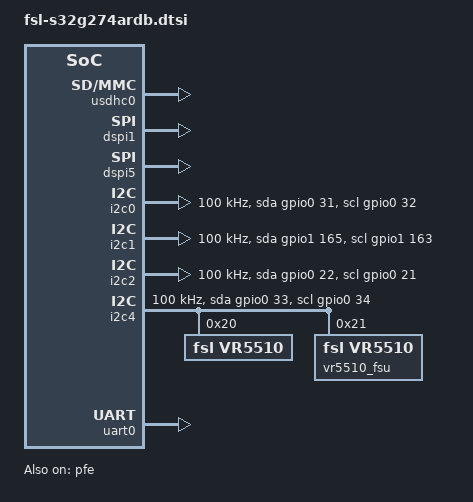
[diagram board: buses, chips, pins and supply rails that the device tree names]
// SPDX-License-Identifier: GPL-2.0-or-later
/*
 * Copyright 2019-2022 NXP
 */

/dts-v1/;
#include <dt-bindings/gpio/gpio.h>
#include "fsl-s32g274a.dtsi"

&usdhc0 {
	/* By default sd0 pins were able to work at 100Mhz and 200Mhz */
	pinctrl-0 = <&pinctrl0_sd0>;
	pinctrl-1 = <>;
	pinctrl-2 = <>;
	pinctrl-names = "default", "state_100mhz", "state_200mhz";
	status = "okay";
};

&dspi1 {
	pinctrl-0 = <&pinctrl0_dspi1 &pinctrl1_dspi1>;
	pinctrl-names = "default";
	status = "okay";
};

&dspi5 {
	pinctrl-0 = <&pinctrl0_dspi5 &pinctrl1_dspi5>;
	pinctrl-names = "default";
	status = "okay";
};

&pfe {
	status = "okay";
};

/* IO Expander  */
&i2c0 {
	clock-frequency=<100000>;
	pinctrl-names = "default", "gpio";
	pinctrl-0 = <&pinctrl0_i2c0>;
	pinctrl-1 = <&pinctrl0_i2c0_gpio>;
	scl-gpios = <&gpio0 32 (GPIO_ACTIVE_HIGH | GPIO_OPEN_DRAIN)>;
	sda-gpios = <&gpio0 31 (GPIO_ACTIVE_HIGH | GPIO_OPEN_DRAIN)>;
	status = "okay";
};

/* PCIe X1 Connector  */
&i2c1 {
	clock-frequency=<100000>;
	pinctrl-names = "default", "gpio";
	pinctrl-0 = <&pinctrl1_i2c1>;
	pinctrl-1 = <&pinctrl1_i2c1_gpio>;
	scl-gpios = <&gpio1 163 (GPIO_ACTIVE_HIGH | GPIO_OPEN_DRAIN)>;
	sda-gpios = <&gpio1 165 (GPIO_ACTIVE_HIGH | GPIO_OPEN_DRAIN)>;
	status = "okay";
};

/* FLEXRAY_LIN  */
&i2c2 {
	clock-frequency=<100000>;
	pinctrl-names = "default", "gpio";
	pinctrl-0 = <&pinctrl0_i2c2 &pinctrl1_i2c2>;
	pinctrl-1 = <&pinctrl0_i2c2_gpio &pinctrl1_i2c2_gpio>;
	scl-gpios = <&gpio0 21 (GPIO_ACTIVE_HIGH | GPIO_OPEN_DRAIN)>;
	sda-gpios = <&gpio0 22 (GPIO_ACTIVE_HIGH | GPIO_OPEN_DRAIN)>;
	status = "okay";
};

/* PMIC */
&i2c4 {
	clock-frequency=<100000>;
	pinctrl-names = "default", "gpio";
	pinctrl-0 = <&pinctrl0_i2c4 &pinctrl1_i2c4>;
	pinctrl-1 = <&pinctrl0_i2c4_gpio &pinctrl1_i2c4_gpio>;
	scl-gpios = <&gpio0 34 (GPIO_ACTIVE_HIGH | GPIO_OPEN_DRAIN)>;
	sda-gpios = <&gpio0 33 (GPIO_ACTIVE_HIGH | GPIO_OPEN_DRAIN)>;
	status = "okay";

	vr5510 {
		compatible = "fsl,vr5510";
		reg = <0x20>;
		status = "okay";
	};

	vr5510_fsu {
		compatible = "fsl,vr5510";
		reg = <0x21>;
		status = "okay";
	};
};

&pinctrl0 {
	board_pinctrl0 {
		pinctrl0_i2c0: pinctrl0_i2c0 {
			fsl,pins = <PB15_MSCR_S32G PB15_I2C0_SDA_CFG
				    PC00_MSCR_S32G PC00_I2C0_SCL_CFG
				    I2C0_SDA_IMCR PB15_I2C0_SDA_IN
				    I2C0_SCL_IMCR PC00_I2C0_SCL_IN
				    >;
		};

		pinctrl0_i2c0_gpio: pinctrl0_i2c0_gpio {
			fsl,pins = <PB15_MSCR_S32G PB15_I2C0_SDA_GPIO
				    PC00_MSCR_S32G PC00_I2C0_SCL_GPIO
				    I2C0_SDA_IMCR IMCR_DISABLED
				    I2C0_SCL_IMCR IMCR_DISABLED
				    >;
		};

		pinctrl0_i2c2: pinctrl0_i2c2 {
			fsl,pins = <PB05_MSCR_S32G PB05_I2C2_SCL_CFG
				    PB06_MSCR_S32G PB06_I2C2_SDA_CFG
				    >;
		};

		pinctrl0_i2c2_gpio: pinctrl0_i2c2_gpio {
			fsl,pins = <PB05_MSCR_S32G PB05_I2C2_SCL_GPIO
				    PB06_MSCR_S32G PB06_I2C2_SDA_GPIO
				    >;
		};

		pinctrl0_i2c4: pinctrl0_i2c4 {
			fsl,pins = <PC01_MSCR_S32G PC01_I2C4_SDA_CFG
				    PC02_MSCR_S32G PC02_I2C4_SCL_CFG
				    >;
		};

		pinctrl0_i2c4_gpio: pinctrl0_i2c4_gpio {
			fsl,pins = <PC01_MSCR_S32G PC01_I2C4_SDA_GPIO
				    PC02_MSCR_S32G PC02_I2C4_SCL_GPIO
				    >;
		};

		pinctrl0_qspi: pinctrl0_qspi {
			fsl,pins = <PF05_MSCR_S32G PF05_QSPI_DATA_A0_CFG
				    PF06_MSCR_S32G PF06_QSPI_DATA_A1_CFG
				    PF07_MSCR_S32G PF07_QSPI_DATA_A2_CFG
				    PF08_MSCR_S32G PF08_QSPI_DATA_A3_CFG
				    PF09_MSCR_S32G PF09_QSPI_DATA_A4_CFG
				    PF10_MSCR_S32G PF10_QSPI_DATA_A5_CFG
				    PF11_MSCR_S32G PF11_QSPI_DATA_A6_CFG
				    PF12_MSCR_S32G PF12_QSPI_DATA_A7_CFG
				    PF13_MSCR_S32G PF13_QSPI_DQS_A_CFG
				    PG00_MSCR_S32G PG00_QSPI_CLK_A_CFG
				    PG01_MSCR_S32G PG01_QSPI_CLK_A_b_CFG
				    PG02_MSCR_S32G PG02_QSPI_CLK_2A_CFG
				    PG03_MSCR_S32G PG03_QSPI_CLK_2A_b_CFG
				    PG04_MSCR_S32G PG04_QSPI_CS_A0
				    PG05_MSCR_S32G PG05_QSPI_CS_A1
				    QSPI_DATA0_A_IMCR PF05_QSPI_DATA_A0_IN
				    QSPI_DATA1_A_IMCR PF06_QSPI_DATA_A1_IN
				    QSPI_DATA2_A_IMCR PF07_QSPI_DATA_A2_IN
				    QSPI_DATA3_A_IMCR PF08_QSPI_DATA_A3_IN
				    QSPI_DATA4_A_IMCR PF09_QSPI_DATA_A4_IN
				    QSPI_DATA5_A_IMCR PF10_QSPI_DATA_A5_IN
				    QSPI_DATA6_A_IMCR PF11_QSPI_DATA_A6_IN
				    QSPI_DATA7_A_IMCR PF12_QSPI_DATA_A7_IN
				    QSPI_DQS_A_IMCR PF13_DQS_A_IN
				    >;
		};

		pinctrl0_sd0: pinctrl0_sd0 {
			fsl,pins = <PC14_MSCR_S32G PC14_SD0_CLK_CFG
				    PC15_MSCR_S32G PC15_SD0_CMD_CFG
				    PD00_MSCR_S32G PD00_SD0_D0_CFG
				    PD01_MSCR_S32G PD01_SD0_D1_CFG
				    PD02_MSCR_S32G PD02_SD0_D2_CFG
				    PD03_MSCR_S32G PD03_SD0_D3_CFG
				    PD04_MSCR_S32G PD04_SD0_D4_CFG
				    PD05_MSCR_S32G PD05_SD0_D5_CFG
				    PD06_MSCR_S32G PD06_SD0_D6_CFG
				    PD07_MSCR_S32G PD07_SD0_D7_CFG
				    PD08_MSCR_S32G PD08_SD0_RST_CFG
				    PD09_MSCR_S32G PD09_SD0_VSELECT_CFG
				    PD10_MSCR_S32G PD10_SD0_DQS_CFG
				    SD0_CMD_IMCR PC15_SD0_CMD_IN
				    SD0_D0_IMCR PD00_SD0_D0_IN
				    SD0_D1_IMCR PD01_SD0_D1_IN
				    SD0_D2_IMCR PD02_SD0_D2_IN
				    SD0_D3_IMCR PD03_SD0_D3_IN
				    SD0_D4_IMCR PD04_SD0_D4_IN
				    SD0_D5_IMCR PD05_SD0_D5_IN
				    SD0_D6_IMCR PD06_SD0_D6_IN
				    SD0_D7_IMCR PD07_SD0_D7_IN
				    SD0_DQS_IMCR PD10_SD0_DQS_IN
				    >;
		};

		pinctrl0_dspi1: pinctrl0_dspi1 {
			fsl,pins = <PA06_MSCR_S32G PA06_SPI1_SOUT_CFG
				    PA07_MSCR_S32G PA07_SPI1_CS0_CFG
				    PA08_MSCR_S32G PA08_SPI1_SCK_CFG
				    PF15_MSCR_S32G PF15_SPI1_SIN_CFG
				    >;
		};

		pinctrl0_dspi5: pinctrl0_dspi5 {
			fsl,pins = <PA09_MSCR_S32G PA09_SPI5_SCK_CFG
				    PA10_MSCR_S32G PA10_SPI5_SIN_CFG
				    PA11_MSCR_S32G PA11_SPI5_SOUT_CFG
				    PA12_MSCR_S32G PA12_SPI5_CS0_CFG
				    >;
		};

		pinctrl0_uart0: pinctrl0_uart0 {
			fsl,pins = <PC09_MSCR_S32G PC09_LIN0_TX_CFG
				    PC10_MSCR_S32G PC10_LIN0_RX_CFG
				    LIN0_RX_IMCR PC10_LIN0_RX_IN>;
		};
	};
};

&pinctrl1 {
	board_pinctrl1 {
		pinctrl1_i2c1: pinctrl1_i2c1 {
			fsl,pins = <PK03_MSCR_S32G PK03_I2C1_SCL_CFG
				    PK05_MSCR_S32G PK05_I2C1_SDA_CFG
				    I2C1_SCL_IMCR PK03_I2C1_SCL_IN
				    I2C1_SDA_IMCR PK05_I2C1_SDA_IN
				    >;
		};

		pinctrl1_i2c1_gpio: pinctrl1_i2c1_gpio {
			fsl,pins = <PK03_MSCR_S32G PK03_I2C1_SCL_GPIO
				    PK05_MSCR_S32G PK05_I2C1_SDA_GPIO
				    I2C1_SCL_IMCR IMCR_DISABLED
				    I2C1_SDA_IMCR IMCR_DISABLED
				    >;
		};

		pinctrl1_i2c2: pinctrl1_i2c2 {
			fsl,pins = <I2C2_SCL_IMCR PB05_I2C2_SCL_IN
				    I2C2_SDA_IMCR PB06_I2C2_SDA_IN
				    >;
		};

		pinctrl1_i2c2_gpio: pinctrl1_i2c2_gpio {
			fsl,pins = <I2C2_SCL_IMCR IMCR_DISABLED
				    I2C2_SDA_IMCR IMCR_DISABLED
				    >;
		};

		pinctrl1_i2c4: pinctrl1_i2c4 {
			fsl,pins = <I2C4_SDA_IMCR PC01_I2C4_SDA_IN
				    I2C4_SCL_IMCR PC02_I2C4_SCL_IN
				    >;
		};

		pinctrl1_i2c4_gpio: pinctrl1_i2c4_gpio {
			fsl,pins = <I2C4_SDA_IMCR IMCR_DISABLED
				    I2C4_SCL_IMCR IMCR_DISABLED
				    >;
		};

		pinctrl1_dspi1: pinctrl1_dspi1 {
			fsl,pins = <DSPI1_SIN_IMCR PF15_SPI1_SIN_IN
				    >;
		};

		pinctrl1_dspi5: pinctrl1_dspi5 {
			fsl,pins = <DSPI5_SIN_IMCR PA10_SPI5_SIN_IN
				    >;
		};
	};
};

&qspi {
	pinctrl-0 = <&pinctrl0_qspi>;
	pinctrl-names = "default";
};

&uart0 {
	pinctrl-0 = <&pinctrl0_uart0>;
	pinctrl-names = "default";
	status = "okay";
};
